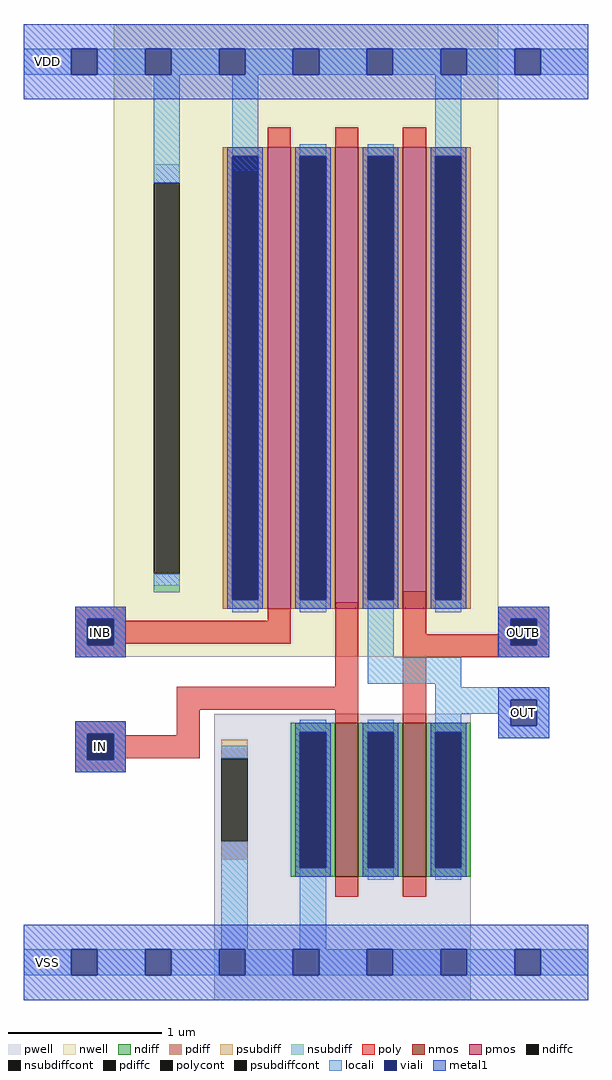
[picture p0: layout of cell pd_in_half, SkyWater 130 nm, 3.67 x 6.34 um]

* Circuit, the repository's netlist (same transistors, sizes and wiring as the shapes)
* NGSPICE file created from pd_in_half.ext - technology: sky130A

.subckt sky130_fd_pr__pfet_01v8_5EUKDE a_n73_n300# w_n109_n362# a_15_n300# a_n15_n326#
X0 a_15_n300# a_n15_n326# a_n73_n300# w_n109_n362# sky130_fd_pr__pfet_01v8 ad=0.87 pd=6.58 as=0.87 ps=6.58 w=3 l=0.15
.ends

.subckt sky130_fd_pr__nfet_01v8_QQ7V57 a_n73_n100# a_15_n100# a_n15_n126# VSUBS
X0 a_15_n100# a_n15_n126# a_n73_n100# VSUBS sky130_fd_pr__nfet_01v8 ad=0.29 pd=2.58 as=0.29 ps=2.58 w=1 l=0.15
.ends

.subckt pd_in_half OUT VDD VSS INB IN OUTB
Xsky130_fd_pr__pfet_01v8_5EUKDE_0 OUT VDD VDD OUTB sky130_fd_pr__pfet_01v8_5EUKDE
Xsky130_fd_pr__pfet_01v8_5EUKDE_1 sky130_fd_pr__pfet_01v8_5EUKDE_2/a_15_n300# VDD
+ OUT IN sky130_fd_pr__pfet_01v8_5EUKDE
Xsky130_fd_pr__pfet_01v8_5EUKDE_2 VDD VDD sky130_fd_pr__pfet_01v8_5EUKDE_2/a_15_n300#
+ INB sky130_fd_pr__pfet_01v8_5EUKDE
Xsky130_fd_pr__nfet_01v8_QQ7V57_0 VSS sky130_fd_pr__nfet_01v8_QQ7V57_0/a_15_n100#
+ IN VSS sky130_fd_pr__nfet_01v8_QQ7V57
Xsky130_fd_pr__nfet_01v8_QQ7V57_1 sky130_fd_pr__nfet_01v8_QQ7V57_0/a_15_n100# OUT
+ OUTB VSS sky130_fd_pr__nfet_01v8_QQ7V57
.ends

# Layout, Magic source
magic
tech sky130A
magscale 1 2
<< nwell >>
rect 213 707 713 827
rect 213 5 319 707
<< pwell >>
rect 344 -441 677 -69
<< psubdiff >>
rect 353 -127 387 -103
rect 353 -259 387 -235
<< nsubdiff >>
rect 265 621 299 645
rect 265 89 299 113
<< psubdiffcont >>
rect 353 -235 387 -127
<< nsubdiffcont >>
rect 265 113 299 621
<< poly >>
rect 163 54 229 70
rect 163 20 179 54
rect 213 52 229 54
rect 413 52 443 58
rect 213 22 443 52
rect 213 20 229 22
rect 163 4 229 20
rect 501 -34 531 76
rect 295 -64 531 -34
rect 589 34 619 90
rect 713 54 779 70
rect 713 34 729 54
rect 589 20 729 34
rect 763 20 779 54
rect 589 4 779 20
rect 589 -55 619 4
rect 163 -95 229 -79
rect 163 -129 179 -95
rect 213 -97 229 -95
rect 295 -97 325 -64
rect 501 -77 531 -64
rect 213 -127 325 -97
rect 213 -129 229 -127
rect 163 -145 229 -129
<< polycont >>
rect 179 20 213 54
rect 729 20 763 54
rect 179 -129 213 -95
<< locali >>
rect 96 761 158 795
rect 192 761 254 795
rect 288 761 350 795
rect 384 761 446 795
rect 480 761 542 795
rect 576 761 638 795
rect 672 761 734 795
rect 768 761 830 795
rect 265 621 299 761
rect 367 636 401 761
rect 631 671 665 761
rect 265 97 299 113
rect 163 54 229 70
rect 163 20 179 54
rect 213 20 229 54
rect 163 4 229 20
rect 543 4 577 67
rect 713 54 779 70
rect 713 20 729 54
rect 763 20 779 54
rect 713 4 779 20
rect 543 -30 665 4
rect 631 -35 665 -30
rect 631 -51 779 -35
rect 631 -69 729 -51
rect 163 -95 229 -79
rect 631 -81 665 -69
rect 163 -129 179 -95
rect 213 -129 229 -95
rect 713 -85 729 -69
rect 763 -85 779 -51
rect 713 -101 779 -85
rect 163 -145 229 -129
rect 353 -127 387 -111
rect 353 -375 387 -235
rect 455 -375 489 -285
rect 96 -409 158 -375
rect 192 -409 254 -375
rect 288 -409 350 -375
rect 384 -409 446 -375
rect 480 -409 542 -375
rect 576 -409 638 -375
rect 672 -409 734 -375
rect 768 -409 830 -375
<< viali >>
rect 158 761 192 795
rect 254 761 288 795
rect 350 761 384 795
rect 446 761 480 795
rect 542 761 576 795
rect 638 761 672 795
rect 734 761 768 795
rect 179 20 213 54
rect 729 20 763 54
rect 179 -129 213 -95
rect 729 -85 763 -51
rect 158 -409 192 -375
rect 254 -409 288 -375
rect 350 -409 384 -375
rect 446 -409 480 -375
rect 542 -409 576 -375
rect 638 -409 672 -375
rect 734 -409 768 -375
<< metal1 >>
rect 96 795 830 827
rect 96 761 158 795
rect 192 761 254 795
rect 288 761 350 795
rect 384 761 446 795
rect 480 761 542 795
rect 576 761 638 795
rect 672 761 734 795
rect 768 761 830 795
rect 96 729 830 761
rect 163 54 229 70
rect 163 20 179 54
rect 213 20 229 54
rect 163 4 229 20
rect 713 54 779 70
rect 713 20 729 54
rect 763 20 779 54
rect 713 4 779 20
rect 713 -51 779 -35
rect 163 -95 229 -79
rect 163 -129 179 -95
rect 213 -129 229 -95
rect 713 -85 729 -51
rect 763 -85 779 -51
rect 713 -101 779 -85
rect 163 -145 229 -129
rect 96 -375 830 -343
rect 96 -409 158 -375
rect 192 -409 254 -375
rect 288 -409 350 -375
rect 384 -409 446 -375
rect 480 -409 542 -375
rect 576 -409 638 -375
rect 672 -409 734 -375
rect 768 -409 830 -375
rect 96 -441 830 -409
use sky130_fd_pr__nfet_01v8_QQ7V57  sky130_fd_pr__nfet_01v8_QQ7V57_0
transform 1 0 516 0 1 -181
box -73 -126 73 126
use sky130_fd_pr__nfet_01v8_QQ7V57  sky130_fd_pr__nfet_01v8_QQ7V57_1
transform 1 0 604 0 1 -181
box -73 -126 73 126
use sky130_fd_pr__pfet_01v8_5EUKDE  sky130_fd_pr__pfet_01v8_5EUKDE_0
transform 1 0 604 0 1 367
box -109 -362 109 362
use sky130_fd_pr__pfet_01v8_5EUKDE  sky130_fd_pr__pfet_01v8_5EUKDE_1
transform 1 0 516 0 1 367
box -109 -362 109 362
use sky130_fd_pr__pfet_01v8_5EUKDE  sky130_fd_pr__pfet_01v8_5EUKDE_2
transform 1 0 428 0 1 367
box -109 -362 109 362
<< labels >>
flabel metal1 96 729 158 827 0 FreeSans 400 0 0 0 VDD
port 4 nsew
flabel metal1 96 -441 158 -343 0 FreeSans 400 0 0 0 VSS
port 5 nsew
flabel metal1 179 20 213 54 0 FreeSans 400 0 0 0 INB
port 8 nsew
flabel metal1 179 -129 213 -95 0 FreeSans 400 0 0 0 IN
port 9 nsew
flabel metal1 729 20 763 54 0 FreeSans 400 0 0 0 OUTB
port 10 nsew
flabel viali 729 -85 763 -51 0 FreeSans 400 0 0 0 OUT
port 3 nsew
<< end >>

# cell sky130_fd_pr__nfet_01v8_QQ7V57: kit device sky130_fd_pr__nfet_01v8, w 1 l 0.150 m 1 nf 1 diffcov 100 polycov 100 guard 0 glc 0 grc 0 gtc 0 gbc 0 tbcov 100 rlcov 100 topc 0 botc 0 poverlap 0 doverlap 1 lmin 0.15 wmin 0.42 compatible {sky130_fd_pr__nfet_01v8 sky130_fd_pr__nfet_01v8_lvt sky130_fd_bs_flash__special_sonosfet_star sky130_fd_pr__nfet_g5v0d10v5 sky130_fd_pr__nfet_05v0_nvt sky130_fd_pr__nfet_03v3_nvt} full_metal 0 viasrc 100 viadrn 100 viagate 100 viagb 0 viagr 0 viagl 0 viagt 0

# cell sky130_fd_pr__pfet_01v8_5EUKDE: kit device sky130_fd_pr__pfet_01v8, w 3 l 0.15 m 1 nf 1 diffcov 100 polycov 100 guard 0 glc 0 grc 0 gtc 0 gbc 0 tbcov 100 rlcov 100 topc 0 botc 0 poverlap 0 doverlap 1 lmin 0.15 wmin 0.42 compatible {sky130_fd_pr__pfet_01v8 sky130_fd_pr__pfet_01v8_lvt sky130_fd_pr__pfet_01v8_hvt sky130_fd_pr__pfet_g5v0d10v5} full_metal 0 viasrc 100 viadrn 100 viagate 100 viagb 0 viagr 0 viagl 0 viagt 0
